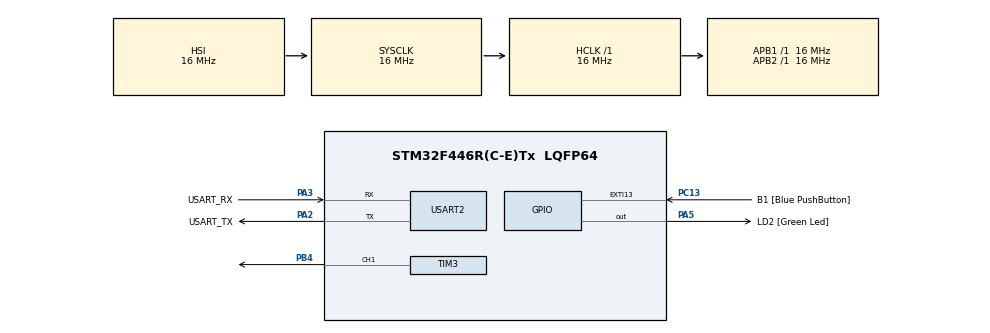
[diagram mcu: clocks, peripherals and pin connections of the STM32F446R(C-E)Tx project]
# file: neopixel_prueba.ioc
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Dma.Request0=TIM3_CH1/TRIG
Dma.TIM3_CH1/TRIG.0.Direction=DMA_MEMORY_TO_PERIPH
Dma.TIM3_CH1/TRIG.0.FIFOMode=DMA_FIFOMODE_DISABLE
Dma.TIM3_CH1/TRIG.0.Instance=DMA1_Stream4
Dma.TIM3_CH1/TRIG.0.MemDataAlignment=DMA_MDATAALIGN_HALFWORD
Dma.TIM3_CH1/TRIG.0.MemInc=DMA_MINC_ENABLE
Dma.TIM3_CH1/TRIG.0.Mode=DMA_NORMAL
Dma.TIM3_CH1/TRIG.0.PeriphDataAlignment=DMA_PDATAALIGN_HALFWORD
Dma.TIM3_CH1/TRIG.0.PeriphInc=DMA_PINC_DISABLE
Dma.TIM3_CH1/TRIG.0.Priority=DMA_PRIORITY_HIGH
Mcu.Family=STM32F4
Mcu.Name=STM32F446R(C-E)Tx
Mcu.Package=LQFP64
NVIC.DMA1_Stream4_IRQn=true\:0\:0\:false\:false\:true\:false\:true\:true
NVIC.PriorityGroup=NVIC_PRIORITYGROUP_0
PA13.GPIO_Label=TMS
PA13.Mode=Serial_Wire
PA13.Signal=SYS_JTMS-SWDIO
PA14.GPIO_Label=TCK
PA14.Mode=Serial_Wire
PA14.Signal=SYS_JTCK-SWCLK
PA2.GPIO_Label=USART_TX
PA2.Mode=Asynchronous
PA2.Signal=USART2_TX
PA3.GPIO_Label=USART_RX
PA3.Mode=Asynchronous
PA3.Signal=USART2_RX
PA5.GPIO_Label=LD2 [Green Led]
PA5.Signal=GPIO_Output
PB3.GPIO_Label=SWO
PB3.Signal=SYS_JTDO-SWO
PB4.GPIO_Speed=GPIO_SPEED_FREQ_VERY_HIGH
PB4.Signal=S_TIM3_CH1
PC13.GPIO_Label=B1 [Blue PushButton]
PC13.GPIO_ModeDefaultEXTI=GPIO_MODE_IT_FALLING
PC13.Signal=GPXTI13
PC14-OSC32_IN.Signal=RCC_OSC32_IN
PC15-OSC32_OUT.Signal=RCC_OSC32_OUT
PH0-OSC_IN.Signal=RCC_OSC_IN
PH1-OSC_OUT.Signal=RCC_OSC_OUT
ProjectManager.HeapSize=0x200
ProjectManager.StackSize=0x400
ProjectManager.TargetToolchain=STM32CubeIDE
RCC.AHBFreq_Value=16000000
RCC.APB1Freq_Value=16000000
RCC.APB1TimFreq_Value=16000000
RCC.APB2Freq_Value=16000000
RCC.APB2TimFreq_Value=16000000
RCC.CortexFreq_Value=16000000
RCC.FLatency-AdvancedSettings=FLASH_LATENCY_0
RCC.HCLKFreq_Value=16000000
RCC.HSE_VALUE=8000000
RCC.HSI_VALUE=16000000
RCC.LSE_VALUE=32768
RCC.PLLN=336
RCC.PLLP=RCC_PLLP_DIV4
RCC.SYSCLKFreq_VALUE=16000000
RCC.USBFreq_Value=168000000
RCC.VCOOutputFreq_Value=336000000
SH.S_TIM3_CH1.0=TIM3_CH1,PWM Generation1 CH1
TIM3.Channel-PWM\ Generation1\ CH1=TIM_CHANNEL_1
TIM3.Period=19
USART2.VirtualMode=VM_ASYNC
VP_TIM3_VS_ClockSourceINT.Mode=Internal
board=NUCLEO-F446RE

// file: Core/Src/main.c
/* USER CODE BEGIN Header */
/**
  ******************************************************************************
  * @file           : main.c
  * @brief          : Prueba de 4 NeoPixels WS2812B desde Termite
  ******************************************************************************
  * @attention
  *
  * Copyright (c) 2026 STMicroelectronics.
  * All rights reserved.
  *
  * This software is licensed under terms that can be found in the LICENSE file
  * in the root directory of this software component.
  * If no LICENSE file comes with this software, it is provided AS-IS.
  *
  ******************************************************************************
  */
/* USER CODE END Header */

#include "main.h"

/* USER CODE BEGIN Includes */
#include <stdio.h>
#include <string.h>
/* USER CODE END Includes */

/* USER CODE BEGIN PD */
#define NUM_PIXELES       4U
#define BRILLO            32U

/*
 * TIM3: reloj 16 MHz, PSC=0, ARR=19.
 * Periodo de bit: 1.25 us.
 */
#define PULSO_CERO        6U
#define PULSO_UNO         13U

/*
 * 320 periodos a nivel bajo = 400 us.
 * Se agrega una pausa antes y despues de los datos.
 */
#define RESET_SLOTS       320U
#define BUFFER_PWM_SIZE   (RESET_SLOTS + NUM_PIXELES * 24U + RESET_SLOTS)

#define DMA_TIMEOUT_MS    100U
#define LINEA_SIZE        16U
/* USER CODE END PD */

TIM_HandleTypeDef htim3;
DMA_HandleTypeDef hdma_tim3_ch1_trig;
UART_HandleTypeDef huart2;

/* USER CODE BEGIN PV */

/* Componentes guardados en orden RGB. */
static uint8_t colores[NUM_PIXELES][3];

/*
 * El DMA debe usar Half Word tanto en memoria como
 * en periferico. La alineacion permite el cast de la API HAL.
 */
static uint16_t pwm_buffer[BUFFER_PWM_SIZE]
    __attribute__((aligned(4)));

static volatile uint8_t dma_terminado = 0U;
static volatile uint8_t dma_error = 0U;

static char mensaje[160];
static char linea[LINEA_SIZE];
static uint8_t longitud_linea = 0U;
static uint8_t linea_excedida = 0U;

/* USER CODE END PV */

void SystemClock_Config(void);
static void MX_GPIO_Init(void);
static void MX_DMA_Init(void);
static void MX_TIM3_Init(void);
static void MX_USART2_UART_Init(void);

/* USER CODE BEGIN PFP */
static void Serial_Enviar(const char *texto);
static void Mostrar_Ayuda(void);
static void Mostrar_Colores(void);
static void Procesar_Comando(char comando);

static void NeoPixel_PinReposo(void);
static void NeoPixel_PinPWM(void);
static void NeoPixel_Todos(uint8_t r, uint8_t g, uint8_t b);
static HAL_StatusTypeDef NeoPixel_Mostrar(void);
/* USER CODE END PFP */

/* USER CODE BEGIN 0 */

static void Serial_Enviar(const char *texto)
{
    HAL_UART_Transmit(
        &huart2,
        (uint8_t *)texto,
        (uint16_t)strlen(texto),
        500U
    );
}

/*
 * Mantener DIN en bajo entre transmisiones.
 * Es especialmente util si el adaptador tiene pull-ups.
 */
static void NeoPixel_PinReposo(void)
{
    GPIO_InitTypeDef gpio = {0};

    __HAL_RCC_GPIOB_CLK_ENABLE();

    HAL_GPIO_WritePin(GPIOB, GPIO_PIN_4, GPIO_PIN_RESET);

    gpio.Pin = GPIO_PIN_4;
    gpio.Mode = GPIO_MODE_OUTPUT_PP;
    gpio.Pull = GPIO_NOPULL;
    gpio.Speed = GPIO_SPEED_FREQ_HIGH;

    HAL_GPIO_Init(GPIOB, &gpio);
}

static void NeoPixel_PinPWM(void)
{
    GPIO_InitTypeDef gpio = {0};

    gpio.Pin = GPIO_PIN_4;
    gpio.Mode = GPIO_MODE_AF_PP;
    gpio.Pull = GPIO_NOPULL;
    gpio.Speed = GPIO_SPEED_FREQ_HIGH;
    gpio.Alternate = GPIO_AF2_TIM3;

    HAL_GPIO_Init(GPIOB, &gpio);
}

static void NeoPixel_Todos(uint8_t r, uint8_t g, uint8_t b)
{
    for (uint8_t i = 0U; i < NUM_PIXELES; i++)
    {
        colores[i][0] = r;
        colores[i][1] = g;
        colores[i][2] = b;
    }
}

static HAL_StatusTypeDef NeoPixel_Mostrar(void)
{
    DMA_HandleTypeDef *dma = htim3.hdma[TIM_DMA_ID_CC1];

    /*
     * Verificar la configuracion generada en el archivo MSP.
     * Esta rutina usa DMA1 Stream4 Channel5, Half Word.
     */
    if (dma == NULL)
    {
        Serial_Enviar("ERROR: TIM3_CH1 no tiene DMA enlazado.\r\n");
        return HAL_ERROR;
    }

    if ((dma->Instance != DMA1_Stream4) ||
        (dma->Init.Channel != DMA_CHANNEL_5) ||
        (dma->Init.Direction != DMA_MEMORY_TO_PERIPH) ||
        (dma->Init.PeriphInc != DMA_PINC_DISABLE) ||
        (dma->Init.MemInc != DMA_MINC_ENABLE) ||
        (dma->Init.PeriphDataAlignment != DMA_PDATAALIGN_HALFWORD) ||
        (dma->Init.MemDataAlignment != DMA_MDATAALIGN_HALFWORD) ||
        (dma->Init.Mode != DMA_NORMAL))
    {
        Serial_Enviar(
            "ERROR: revisa DMA de TIM3_CH1 en CubeMX.\r\n"
            "DMA1 Stream4 Channel5, Normal, Half Word en ambos lados.\r\n"
            "Memory increment: enabled. Peripheral increment: disabled.\r\n"
        );

        return HAL_ERROR;
    }

    memset(pwm_buffer, 0, sizeof(pwm_buffer));

    uint32_t posicion = RESET_SLOTS;

    for (uint8_t i = 0U; i < NUM_PIXELES; i++)
    {
        /*
         * WS2812B: transmitir GRB, bit mas significativo primero.
         */
        uint32_t grb =
            ((uint32_t)colores[i][1] << 16) |
            ((uint32_t)colores[i][0] << 8)  |
            ((uint32_t)colores[i][2]);

        for (int32_t bit = 23; bit >= 0; bit--)
        {
            pwm_buffer[posicion++] =
                (grb & (1UL << bit)) ? PULSO_UNO : PULSO_CERO;
        }
    }

    dma_terminado = 0U;
    dma_error = 0U;

    __HAL_TIM_SET_COMPARE(&htim3, TIM_CHANNEL_1, 0U);
    __HAL_TIM_SET_COUNTER(&htim3, 0U);

    /* Cargar el valor cero en el registro activo del canal. */
    htim3.Instance->EGR = TIM_EGR_UG;
    __HAL_TIM_CLEAR_FLAG(&htim3, TIM_FLAG_UPDATE | TIM_FLAG_CC1);

    NeoPixel_PinPWM();

    HAL_StatusTypeDef resultado = HAL_TIM_PWM_Start_DMA(
        &htim3,
        TIM_CHANNEL_1,
        (uint32_t *)pwm_buffer,
        (uint16_t)BUFFER_PWM_SIZE
    );

    if (resultado != HAL_OK)
    {
        HAL_TIM_PWM_Stop_DMA(&htim3, TIM_CHANNEL_1);
        NeoPixel_PinReposo();

        Serial_Enviar("ERROR: no se pudo iniciar PWM con DMA.\r\n");
        return resultado;
    }

    uint32_t inicio = HAL_GetTick();

    while ((dma_terminado == 0U) && (dma_error == 0U))
    {
        if ((HAL_GetTick() - inicio) >= DMA_TIMEOUT_MS)
        {
            HAL_TIM_PWM_Stop_DMA(&htim3, TIM_CHANNEL_1);
            NeoPixel_PinReposo();

            Serial_Enviar(
                "ERROR: timeout DMA.\r\n"
                "Revisa DMA1_Stream4_IRQHandler y su llamada a HAL_DMA_IRQHandler.\r\n"
            );

            return HAL_TIMEOUT;
        }
    }

    HAL_TIM_PWM_Stop_DMA(&htim3, TIM_CHANNEL_1);
    NeoPixel_PinReposo();

    /* Mantener nivel bajo despues de la transmision. */
    HAL_Delay(1U);

    if (dma_error)
    {
        Serial_Enviar("ERROR: fallo durante la transferencia DMA.\r\n");
        return HAL_ERROR;
    }

    return HAL_OK;
}

static void Mostrar_Ayuda(void)
{
    Serial_Enviar(
        "\r\n========================================\r\n"
        "PRUEBA DE 4 NEOPIXELS - NUCLEO F446RE\r\n"
        "Datos: D5 / PB4 / TIM3_CH1\r\n"
        "Escribe UN comando y presiona ENTER.\r\n"
        "----------------------------------------\r\n"
        "0 : todos libres, color verde\r\n"
        "1 : LED 1 rojo; los demas verdes\r\n"
        "2 : LED 2 rojo; los demas verdes\r\n"
        "3 : LED 3 rojo; los demas verdes\r\n"
        "4 : LED 4 rojo; los demas verdes\r\n"
        "r : todos rojos\r\n"
        "g : todos verdes\r\n"
        "b : todos azules, prueba de color\r\n"
        "x : todos apagados\r\n"
        "? : mostrar esta ayuda\r\n"
        "Cada comando reemplaza el estado anterior.\r\n"
        "========================================\r\n"
    );
}

static void Mostrar_Colores(void)
{
    Serial_Enviar("\r\nColores enviados:\r\n");

    for (uint8_t i = 0U; i < NUM_PIXELES; i++)
    {
        const char *descripcion;

        if (colores[i][0] != 0U)
        {
            descripcion = "ROJO - OCUPADO";
        }
        else if (colores[i][1] != 0U)
        {
            descripcion = "VERDE - LIBRE";
        }
        else if (colores[i][2] != 0U)
        {
            descripcion = "AZUL - PRUEBA";
        }
        else
        {
            descripcion = "APAGADO - PRUEBA";
        }

        snprintf(
            mensaje,
            sizeof(mensaje),
            "LED %u: %s\r\n",
            (unsigned int)(i + 1U),
            descripcion
        );

        Serial_Enviar(mensaje);
    }

    Serial_Enviar(
        "Transferencia DMA completada; comprueba los colores fisicamente.\r\n"
    );
}

static void Procesar_Comando(char comando)
{
    if ((comando >= 'A') && (comando <= 'Z'))
    {
        comando = (char)(comando + ('a' - 'A'));
    }

    if (comando == '?')
    {
        Mostrar_Ayuda();
        return;
    }

    if ((comando >= '1') && (comando <= '4'))
    {
        uint8_t seleccionado = (uint8_t)(comando - '1');

        NeoPixel_Todos(0U, BRILLO, 0U);

        colores[seleccionado][0] = BRILLO;
        colores[seleccionado][1] = 0U;
        colores[seleccionado][2] = 0U;
    }
    else
    {
        switch (comando)
        {
            case '0':
            case 'g':
                NeoPixel_Todos(0U, BRILLO, 0U);
                break;

            case 'r':
                NeoPixel_Todos(BRILLO, 0U, 0U);
                break;

            case 'b':
                NeoPixel_Todos(0U, 0U, BRILLO);
                break;

            case 'x':
                NeoPixel_Todos(0U, 0U, 0U);
                break;

            default:
                Serial_Enviar(
                    "\r\nComando invalido. Usa 0-4, r, g, b, x o ?.\r\n"
                );
                return;
        }
    }

    snprintf(
        mensaje,
        sizeof(mensaje),
        "\r\nComando recibido: %c\r\n",
        comando
    );

    Serial_Enviar(mensaje);

    if (NeoPixel_Mostrar() == HAL_OK)
    {
        Mostrar_Colores();
    }
    else
    {
        Serial_Enviar(
            "No se completo el envio. Revisa el error indicado.\r\n"
        );
    }
}

/* USER CODE END 0 */

int main(void)
{
    /* USER CODE BEGIN 1 */
    uint8_t recibido = 0U;
    /* USER CODE END 1 */

    HAL_Init();

    SystemClock_Config();

    MX_GPIO_Init();
    MX_DMA_Init();
    MX_TIM3_Init();
    MX_USART2_UART_Init();

    /* USER CODE BEGIN 2 */
    NeoPixel_PinReposo();
    HAL_Delay(10U);

    Mostrar_Ayuda();

    Serial_Enviar("\r\nEstado inicial: todos verdes.\r\n");

    NeoPixel_Todos(0U, BRILLO, 0U);

    if (NeoPixel_Mostrar() == HAL_OK)
    {
        Mostrar_Colores();
    }

    Serial_Enviar("\r\nComando> ");
    /* USER CODE END 2 */

    /* USER CODE BEGIN WHILE */
    while (1)
    {
        HAL_StatusTypeDef estado_rx =
            HAL_UART_Receive(&huart2, &recibido, 1U, 100U);

        if (estado_rx == HAL_OK)
        {
            if ((recibido == '\r') || (recibido == '\n'))
            {
                if (linea_excedida || (longitud_linea > 1U))
                {
                    Serial_Enviar(
                        "\r\nEnvia solo UN comando por linea. Ejemplo: 2\r\n"
                    );
                    Serial_Enviar("\r\nComando> ");
                }
                else if (longitud_linea == 1U)
                {
                    Procesar_Comando(linea[0]);
                    Serial_Enviar("\r\nComando> ");
                }

                longitud_linea = 0U;
                linea_excedida = 0U;
            }
            else if ((recibido == '\b') || (recibido == 127U))
            {
                if (longitud_linea > 0U)
                {
                    longitud_linea--;
                }
            }
            else if ((recibido == ' ') || (recibido == '\t'))
            {
                /* Ignorar espacios alrededor del comando. */
            }
            else if ((recibido >= 32U) && (recibido <= 126U))
            {
                if (longitud_linea < (LINEA_SIZE - 1U))
                {
                    linea[longitud_linea++] = (char)recibido;
                }
                else
                {
                    linea_excedida = 1U;
                }
            }
        }
        else if (estado_rx == HAL_ERROR)
        {
            /*
             * Recuperar una posible sobrecarga de recepcion.
             * Esta prueba recibe un comando a la vez.
             */
            __HAL_UART_CLEAR_OREFLAG(&huart2);
            longitud_linea = 0U;
            linea_excedida = 0U;
        }

        /* USER CODE END WHILE */

    }
}

void SystemClock_Config(void)
{
    RCC_OscInitTypeDef RCC_OscInitStruct = {0};
    RCC_ClkInitTypeDef RCC_ClkInitStruct = {0};

    __HAL_RCC_PWR_CLK_ENABLE();
    __HAL_PWR_VOLTAGESCALING_CONFIG(PWR_REGULATOR_VOLTAGE_SCALE3);

    RCC_OscInitStruct.OscillatorType = RCC_OSCILLATORTYPE_HSI;
    RCC_OscInitStruct.HSIState = RCC_HSI_ON;
    RCC_OscInitStruct.HSICalibrationValue =
        RCC_HSICALIBRATION_DEFAULT;
    RCC_OscInitStruct.PLL.PLLState = RCC_PLL_NONE;

    if (HAL_RCC_OscConfig(&RCC_OscInitStruct) != HAL_OK)
    {
        Error_Handler();
    }

    RCC_ClkInitStruct.ClockType = RCC_CLOCKTYPE_HCLK
                               | RCC_CLOCKTYPE_SYSCLK
                               | RCC_CLOCKTYPE_PCLK1
                               | RCC_CLOCKTYPE_PCLK2;

    RCC_ClkInitStruct.SYSCLKSource = RCC_SYSCLKSOURCE_HSI;
    RCC_ClkInitStruct.AHBCLKDivider = RCC_SYSCLK_DIV1;
    RCC_ClkInitStruct.APB1CLKDivider = RCC_HCLK_DIV1;
    RCC_ClkInitStruct.APB2CLKDivider = RCC_HCLK_DIV1;

    if (HAL_RCC_ClockConfig(
            &RCC_ClkInitStruct,
            FLASH_LATENCY_0) != HAL_OK)
    {
        Error_Handler();
    }
}

static void MX_TIM3_Init(void)
{

    TIM_ClockConfigTypeDef sClockSourceConfig = {0};
    TIM_MasterConfigTypeDef sMasterConfig = {0};
    TIM_OC_InitTypeDef sConfigOC = {0};

    htim3.Instance = TIM3;
    htim3.Init.Prescaler = 0;
    htim3.Init.CounterMode = TIM_COUNTERMODE_UP;
    htim3.Init.Period = 19;
    htim3.Init.ClockDivision = TIM_CLOCKDIVISION_DIV1;
    htim3.Init.AutoReloadPreload = TIM_AUTORELOAD_PRELOAD_DISABLE;

    if (HAL_TIM_Base_Init(&htim3) != HAL_OK)
    {
        Error_Handler();
    }

    sClockSourceConfig.ClockSource = TIM_CLOCKSOURCE_INTERNAL;

    if (HAL_TIM_ConfigClockSource(
            &htim3,
            &sClockSourceConfig) != HAL_OK)
    {
        Error_Handler();
    }

    if (HAL_TIM_PWM_Init(&htim3) != HAL_OK)
    {
        Error_Handler();
    }

    sMasterConfig.MasterOutputTrigger = TIM_TRGO_RESET;
    sMasterConfig.MasterSlaveMode = TIM_MASTERSLAVEMODE_DISABLE;

    if (HAL_TIMEx_MasterConfigSynchronization(
            &htim3,
            &sMasterConfig) != HAL_OK)
    {
        Error_Handler();
    }

    sConfigOC.OCMode = TIM_OCMODE_PWM1;
    sConfigOC.Pulse = 0;
    sConfigOC.OCPolarity = TIM_OCPOLARITY_HIGH;
    sConfigOC.OCFastMode = TIM_OCFAST_DISABLE;

    if (HAL_TIM_PWM_ConfigChannel(
            &htim3,
            &sConfigOC,
            TIM_CHANNEL_1) != HAL_OK)
    {
        Error_Handler();
    }

    /* USER CODE BEGIN TIM3_Init 2 */
    __HAL_TIM_ENABLE_OCxPRELOAD(&htim3, TIM_CHANNEL_1);
    /* USER CODE END TIM3_Init 2 */

    HAL_TIM_MspPostInit(&htim3);
}

static void MX_USART2_UART_Init(void)
{

    huart2.Instance = USART2;
    huart2.Init.BaudRate = 115200;
    huart2.Init.WordLength = UART_WORDLENGTH_8B;
    huart2.Init.StopBits = UART_STOPBITS_1;
    huart2.Init.Parity = UART_PARITY_NONE;
    huart2.Init.Mode = UART_MODE_TX_RX;
    huart2.Init.HwFlowCtl = UART_HWCONTROL_NONE;
    huart2.Init.OverSampling = UART_OVERSAMPLING_16;

    if (HAL_UART_Init(&huart2) != HAL_OK)
    {
        Error_Handler();
    }

}

static void MX_DMA_Init(void)
{
    __HAL_RCC_DMA1_CLK_ENABLE();

    HAL_NVIC_SetPriority(DMA1_Stream4_IRQn, 0, 0);
    HAL_NVIC_EnableIRQ(DMA1_Stream4_IRQn);
}

static void MX_GPIO_Init(void)
{
    GPIO_InitTypeDef GPIO_InitStruct = {0};

    __HAL_RCC_GPIOC_CLK_ENABLE();
    __HAL_RCC_GPIOH_CLK_ENABLE();
    __HAL_RCC_GPIOA_CLK_ENABLE();
    __HAL_RCC_GPIOB_CLK_ENABLE();

    HAL_GPIO_WritePin(LD2_GPIO_Port, LD2_Pin, GPIO_PIN_RESET);

    GPIO_InitStruct.Pin = B1_Pin;
    GPIO_InitStruct.Mode = GPIO_MODE_IT_FALLING;
    GPIO_InitStruct.Pull = GPIO_NOPULL;
    HAL_GPIO_Init(B1_GPIO_Port, &GPIO_InitStruct);

    GPIO_InitStruct.Pin = LD2_Pin;
    GPIO_InitStruct.Mode = GPIO_MODE_OUTPUT_PP;
    GPIO_InitStruct.Pull = GPIO_NOPULL;
    GPIO_InitStruct.Speed = GPIO_SPEED_FREQ_LOW;
    HAL_GPIO_Init(LD2_GPIO_Port, &GPIO_InitStruct);

}

/* USER CODE BEGIN 4 */

/*
 * La HAL llama a esta funcion cuando termina el DMA del PWM.
 * No transmitir mensajes seriales desde esta interrupcion.
 */
void HAL_TIM_PWM_PulseFinishedCallback(TIM_HandleTypeDef *htim)
{
    if ((htim->Instance == TIM3) &&
        (htim->Channel == HAL_TIM_ACTIVE_CHANNEL_1))
    {
        dma_terminado = 1U;
    }
}

void HAL_TIM_ErrorCallback(TIM_HandleTypeDef *htim)
{
    if (htim->Instance == TIM3)
    {
        dma_error = 1U;
    }
}

/* USER CODE END 4 */

void Error_Handler(void)
{
    __disable_irq();
    while (1)
    {
    }
}

#ifdef USE_FULL_ASSERT
void assert_failed(uint8_t *file, uint32_t line)
{
    /* USER CODE BEGIN 6 */
    (void)file;
    (void)line;
    /* USER CODE END 6 */
}
#endif /* USE_FULL_ASSERT */
